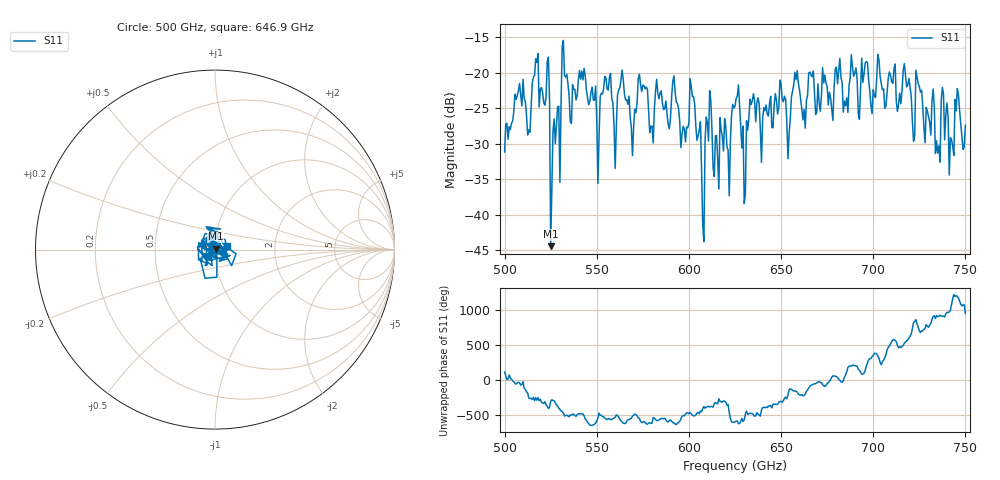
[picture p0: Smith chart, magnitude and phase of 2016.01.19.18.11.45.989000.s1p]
!Created with skrf (http://scikit-rf.org).
# GHz S RI R 50.0
!freq ReS11 ImS11
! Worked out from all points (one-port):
!   401 points, 500 GHz to 750 GHz, reference 50 ohm
!   lowest |S11| = -44.5 dB at 525 GHz (marker M1), VSWR 1.01, Z = 50.3 + j0.521 ohm
!   |S11| at or under -10 dB: start of sweep to end of sweep
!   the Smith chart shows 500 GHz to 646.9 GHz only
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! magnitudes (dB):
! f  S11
! 500 GHz  -31.2
! 506.9 GHz  -23.2
! 513.1 GHz  -28.1
! 516.9 GHz  -18.0
! 523.1 GHz  -18.4
! 525 GHz  -44.5
! 531.2 GHz  -16.3
! 542.5 GHz  -21.0
! 551.2 GHz  -28.9
! 562.5 GHz  -22.1
! 569.4 GHz  -31.7
! 573.8 GHz  -21.6
! 579.4 GHz  -27.6
! 593.8 GHz  -24.3
! 596.9 GHz  -27.6
! 601.9 GHz  -23.4
! 607.5 GHz  -41.6
! 610.6 GHz  -29.6
! 615 GHz  -28.8
! 625 GHz  -24.7
! 629.4 GHz  -27.5
! 634.4 GHz  -23.9
! 656.2 GHz  -22.6
! 687.5 GHz  -20.7
! 718.8 GHz  -21.7
! 735 GHz  -31.3
! 738.1 GHz  -23.0
! 750 GHz  -27.4
